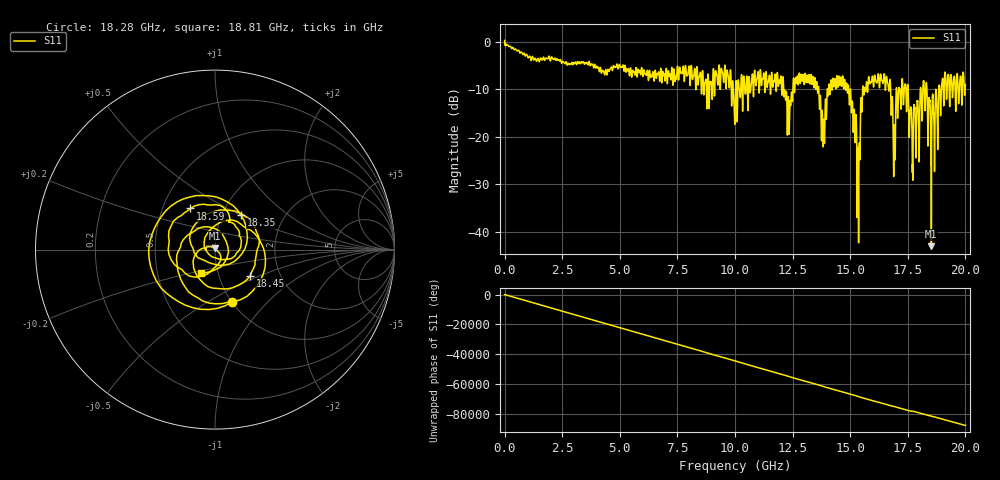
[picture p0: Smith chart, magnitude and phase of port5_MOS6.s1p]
! MS46122B
! 2250307/22442219
! 6/20/2025 7:52:37 AM
! C:\USERS\SPARKY\DOCUMENTS\VNA_DATA\JUNE20_2025\3.0K\PORT5_MOS6.S1P
! CHANNEL.1
! TR.MEASUREMENT
! RAW.DATA
# GHZ S RI R 50.0
! FREQ.GHZ  S11RE  S11IM
!; PortSelection: Port_1
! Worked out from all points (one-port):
!   10001 points, 1 MHz to 20 GHz, reference 50 ohm
!   lowest |S11| = -43.0 dB at 18.52 GHz (marker M1), VSWR 1.01, Z = 49.7 + j0.656 ohm
!   |S11| at or under -10 dB: 15.01 GHz to 15.54 GHz (523.1 MHz wide, 3.42 % of centre); 17.51 GHz to 18.05 GHz (535.1 MHz wide, 3.01 % of centre); 18.33 GHz to 18.84 GHz (512.4 MHz wide, 2.76 % of centre) (the widest 3 of 58)
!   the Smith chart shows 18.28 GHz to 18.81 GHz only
!   S11 on the Smith chart (normalised r, x): 18.28 GHz: 1.00, -0.65; 18.35 GHz: 1.23, +0.50; 18.45 GHz: 1.41, -0.44; 18.59 GHz: 0.69, +0.34; 18.81 GHz: 0.83, -0.22
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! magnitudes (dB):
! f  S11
! 1 MHz  0.2
! 2.501 GHz  -4.3
! 5.001 GHz  -4.9
! 7.501 GHz  -5.2
! 9.489 GHz  -7.6
! 10 GHz  -16.1
! 10.93 GHz  -8.4
! 12.34 GHz  -17.0
! 12.5 GHz  -12.0
! 13.38 GHz  -7.3
! 13.82 GHz  -21.8
! 14.25 GHz  -7.8
! 15 GHz  -10.5
! 15.34 GHz  -24.4
! 15.54 GHz  -9.5
! 15.88 GHz  -8.5
! 16.65 GHz  -9.3
! 16.87 GHz  -23.4
! 17.19 GHz  -12.6
! 17.5 GHz  -9.1
! 17.77 GHz  -13.8
! 18.28 GHz  -10.2
! 18.35 GHz  -12.4
! 18.45 GHz  -12.2
! 18.52 GHz  -43.0
! 18.59 GHz  -11.5
! 18.81 GHz  -16.3
! 20 GHz  -9.1
